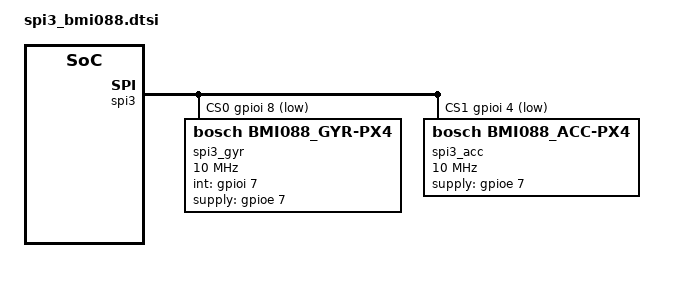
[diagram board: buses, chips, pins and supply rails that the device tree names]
/* Copyright (c) 2023 PX4 Development Team
 * SPDX-License-Identifier: BSD-3-Clause
 */

/* lacks the DRDY pin for BMI088 accelerometer */
&spi3 {
	cs-gpios = <&gpioi 8 GPIO_ACTIVE_LOW>,
			   <&gpioi 4 GPIO_ACTIVE_LOW>;

	spi3_gyr: bmi088_gyr@0 {
		status = "okay";
		compatible = "bosch,bmi088_gyr-px4";
		spi-max-frequency = <10000000>;
		reg = <0>;
		int-gpios = <&gpioi 7 GPIO_ACTIVE_HIGH>;
		supply-gpios = <&gpioe 7 GPIO_ACTIVE_HIGH>;
	};
	spi3_acc: bmi088_acc@1 {
		status = "okay";
		compatible = "bosch,bmi088_acc-px4";
		spi-max-frequency = <10000000>;
		reg = <1>;
		supply-gpios = <&gpioe 7 GPIO_ACTIVE_HIGH>;
	};
};
